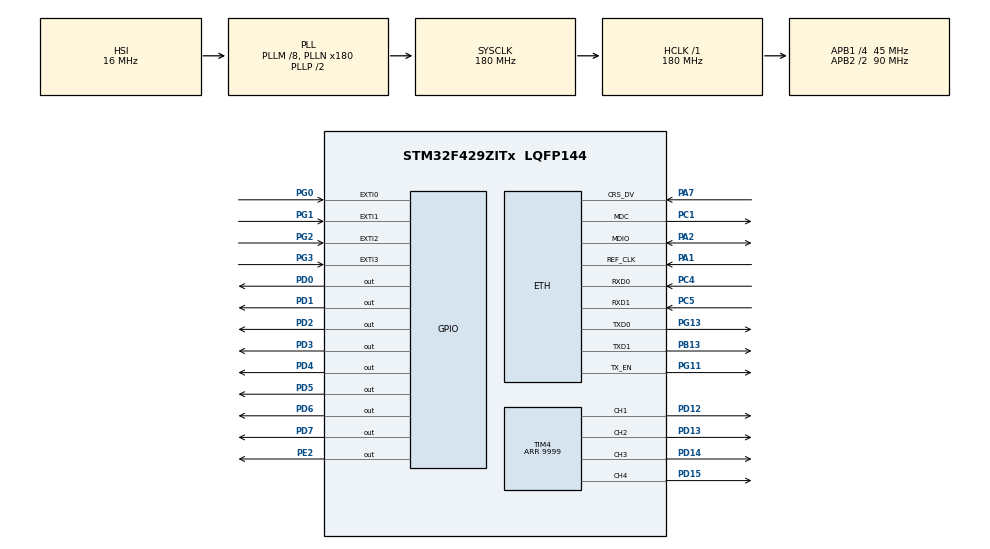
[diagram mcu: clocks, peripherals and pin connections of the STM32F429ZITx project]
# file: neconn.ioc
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ETH.MediaInterface=HAL_ETH_RMII_MODE
FREERTOS.Tasks01=defaultTask,24,256,StartDefaultTask,Default,NULL,Dynamic,NULL,NULL
FREERTOS.configCHECK_FOR_STACK_OVERFLOW=2
FREERTOS.configMINIMAL_STACK_SIZE=256
FREERTOS.configUSE_NEWLIB_REENTRANT=1
LWIP.BSP.number=1
LWIP.GATEWAY_ADDRESS=192.168.000.001
LWIP.IP_ADDRESS=192.168.000.012
LWIP.LWIP_DHCP=0
LWIP.MEM_SIZE=10*1024
LWIP.NETMASK_ADDRESS=255.255.255.000
LWIP.Version=v2.1.2_Cube
LWIP0.BSP.STBoard=false
LWIP0.BSP.api=BSP_COMPONENT_DRIVER
LWIP0.BSP.component=LAN8742
LWIP0.BSP.instance=LAN8742
LWIP0.BSP.name=Driver_PHY
LWIP0.BSP.semaphore=S_LAN8742
LWIP0.BSP.solution=LAN8742
Mcu.Family=STM32F4
Mcu.Name=STM32F429ZITx
Mcu.Package=LQFP144
NVIC.ETH_IRQn=true\:5\:0\:false\:false\:true\:true\:false\:true\:true
NVIC.EXTI0_IRQn=true\:5\:0\:false\:false\:true\:true\:true\:true\:true
NVIC.EXTI1_IRQn=true\:5\:0\:false\:false\:true\:true\:true\:true\:true
NVIC.EXTI2_IRQn=true\:5\:0\:false\:false\:true\:true\:true\:true\:true
NVIC.EXTI3_IRQn=true\:5\:0\:false\:false\:true\:true\:true\:true\:true
NVIC.PriorityGroup=NVIC_PRIORITYGROUP_4
NVIC.TIM4_IRQn=true\:5\:0\:false\:false\:true\:true\:true\:true\:true
NVIC.TIM6_DAC_IRQn=true\:15\:0\:false\:false\:true\:false\:false\:true\:true
NVIC.TimeBase=TIM6_DAC_IRQn
NVIC.TimeBaseIP=TIM6
PA1.Mode=RMII
PA1.Signal=ETH_REF_CLK
PA13.Mode=Trace_Asynchronous_SW
PA13.Signal=SYS_JTMS-SWDIO
PA14.Mode=Trace_Asynchronous_SW
PA14.Signal=SYS_JTCK-SWCLK
PA2.Mode=RMII
PA2.Signal=ETH_MDIO
PA7.Mode=RMII
PA7.Signal=ETH_CRS_DV
PB13.Mode=RMII
PB13.Signal=ETH_TXD1
PB3.Mode=Trace_Asynchronous_SW
PB3.Signal=SYS_JTDO-SWO
PC1.Mode=RMII
PC1.Signal=ETH_MDC
PC14/OSC32_IN.Mode=LSE-External-Oscillator
PC14/OSC32_IN.Signal=RCC_OSC32_IN
PC15/OSC32_OUT.Mode=LSE-External-Oscillator
PC15/OSC32_OUT.Signal=RCC_OSC32_OUT
PC4.Mode=RMII
PC4.Signal=ETH_RXD0
PC5.Mode=RMII
PC5.Signal=ETH_RXD1
PD0.GPIO_PuPd=GPIO_PULLUP
PD0.GPIO_Speed=GPIO_SPEED_FREQ_HIGH
PD0.Signal=GPIO_Output
PD1.GPIO_PuPd=GPIO_PULLUP
PD1.GPIO_Speed=GPIO_SPEED_FREQ_HIGH
PD1.Signal=GPIO_Output
PD12.Signal=S_TIM4_CH1
PD13.Signal=S_TIM4_CH2
PD14.Signal=S_TIM4_CH3
PD15.Signal=S_TIM4_CH4
PD2.GPIO_PuPd=GPIO_PULLUP
PD2.GPIO_Speed=GPIO_SPEED_FREQ_HIGH
PD2.Signal=GPIO_Output
PD3.GPIO_PuPd=GPIO_PULLUP
PD3.GPIO_Speed=GPIO_SPEED_FREQ_HIGH
PD3.Signal=GPIO_Output
PD4.GPIO_PuPd=GPIO_PULLUP
PD4.GPIO_Speed=GPIO_SPEED_FREQ_HIGH
PD4.Signal=GPIO_Output
PD5.GPIO_PuPd=GPIO_PULLUP
PD5.GPIO_Speed=GPIO_SPEED_FREQ_HIGH
PD5.Signal=GPIO_Output
PD6.GPIO_PuPd=GPIO_PULLUP
PD6.GPIO_Speed=GPIO_SPEED_FREQ_HIGH
PD6.Signal=GPIO_Output
PD7.GPIO_PuPd=GPIO_PULLUP
PD7.GPIO_Speed=GPIO_SPEED_FREQ_HIGH
PD7.Signal=GPIO_Output
PE2.GPIO_PuPd=GPIO_PULLUP
PE2.GPIO_Speed=GPIO_SPEED_FREQ_MEDIUM
PE2.Signal=GPIO_Output
PG0.GPIO_ModeDefaultEXTI=GPIO_MODE_IT_FALLING
PG0.GPIO_PuPd=GPIO_NOPULL
PG0.Signal=GPXTI0
PG1.GPIO_ModeDefaultEXTI=GPIO_MODE_IT_FALLING
PG1.GPIO_PuPd=GPIO_NOPULL
PG1.Signal=GPXTI1
PG11.Mode=RMII
PG11.Signal=ETH_TX_EN
PG13.Mode=RMII
PG13.Signal=ETH_TXD0
PG2.GPIO_ModeDefaultEXTI=GPIO_MODE_IT_FALLING
PG2.GPIO_PuPd=GPIO_NOPULL
PG2.Signal=GPXTI2
PG3.GPIO_ModeDefaultEXTI=GPIO_MODE_IT_FALLING
PG3.GPIO_PuPd=GPIO_NOPULL
PG3.Signal=GPXTI3
PH0/OSC_IN.Mode=HSE-External-Clock-Source
PH0/OSC_IN.Signal=RCC_OSC_IN
PH1/OSC_OUT.Mode=HSE-External-Clock-Source
PH1/OSC_OUT.Signal=RCC_OSC_OUT
ProjectManager.HeapSize=0x200
ProjectManager.StackSize=0x400
ProjectManager.TargetToolchain=STM32CubeIDE
RCC.48MHZClocksFreq_Value=90000000
RCC.AHBFreq_Value=180000000
RCC.APB1CLKDivider=RCC_HCLK_DIV4
RCC.APB1Freq_Value=45000000
RCC.APB1TimFreq_Value=90000000
RCC.APB2CLKDivider=RCC_HCLK_DIV2
RCC.APB2Freq_Value=90000000
RCC.APB2TimFreq_Value=180000000
RCC.CortexFreq_Value=180000000
RCC.HCLKFreq_Value=180000000
RCC.HSE_VALUE=25000000
RCC.HSI_VALUE=16000000
RCC.PLLM=8
RCC.PLLN=180
RCC.SYSCLKFreq_VALUE=180000000
RCC.SYSCLKSource=RCC_SYSCLKSOURCE_PLLCLK
RCC.VCOOutputFreq_Value=360000000
SH.S_TIM4_CH1.0=TIM4_CH1,PWM Generation1 CH1
SH.S_TIM4_CH2.0=TIM4_CH2,PWM Generation2 CH2
SH.S_TIM4_CH3.0=TIM4_CH3,PWM Generation3 CH3
SH.S_TIM4_CH4.0=TIM4_CH4,PWM Generation4 CH4
TIM4.Channel-PWM\ Generation1\ CH1=TIM_CHANNEL_1
TIM4.Channel-PWM\ Generation2\ CH2=TIM_CHANNEL_2
TIM4.Channel-PWM\ Generation3\ CH3=TIM_CHANNEL_3
TIM4.Channel-PWM\ Generation4\ CH4=TIM_CHANNEL_4
TIM4.Period=9999
TIM4.Pulse-PWM\ Generation1\ CH1=29999
TIM4.Pulse-PWM\ Generation2\ CH2=29999
TIM4.Pulse-PWM\ Generation3\ CH3=29999
TIM4.Pulse-PWM\ Generation4\ CH4=10000
VP_FREERTOS_VS_CMSIS_V2.Mode=CMSIS_V2
VP_LWIP_VS_Enabled.Mode=Enabled
VP_SYS_VS_tim6.Mode=TIM6
VP_TIM4_VS_ClockSourceINT.Mode=Internal
board=custom

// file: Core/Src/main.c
/* USER CODE BEGIN Header */
/**
  ******************************************************************************
  * @file           : main.c
  * @brief          : Main program body
  ******************************************************************************
  * @attention
  *
  * Copyright (c) 2023 STMicroelectronics.
  * All rights reserved.
  *
  * This software is licensed under terms that can be found in the LICENSE file
  * in the root directory of this software component.
  * If no LICENSE file comes with this software, it is provided AS-IS.
  *
  ******************************************************************************
  */
/* USER CODE END Header */
#include "main.h"
#include "cmsis_os.h"
#include "lwip.h"

/* USER CODE BEGIN Includes */
#include "tcpserver.h"
#include "tcpclient.h"
/* USER CODE END Includes */

TIM_HandleTypeDef htim4;

/* Definitions for defaultTask */

/* USER CODE BEGIN PV */
osThreadId_t tcpTaskHandle;
const osThreadAttr_t tcpTask_attributes = {
  .name = "tcpTask",
  .stack_size = 256 * 4,
  .priority = (osPriority_t) osPriorityNormal,
};

osThreadId_t motorTaskHandle;
const osThreadAttr_t motorTask_attributes = {
  .name = "motorTask",
  .stack_size = 256 * 4,
  .priority = (osPriority_t) osPriorityNormal,
};
/* USER CODE END PV */

void SystemClock_Config(void);
static void MX_GPIO_Init(void);
static void MX_TIM4_Init(void);

/* USER CODE BEGIN PFP */
void StartMotorTask(void *argument);
void StartTcpTask(void *argument);
/* USER CODE END PFP */

/* USER CODE BEGIN 0 */
void LED_OnOff(int, int);

extern int motor_left;
extern int motor_right;
/* USER CODE END 0 */

int main(void)
{

  /* MCU Configuration--------------------------------------------------------*/

  /* Reset of all peripherals, Initializes the Flash interface and the Systick. */
  HAL_Init();

  /* USER CODE BEGIN Init */
  LED_OnOff(LED_ALL, 500);
  HAL_TIM_Base_Start(&htim4);

  /* USER CODE END Init */

  /* Configure the system clock */
  SystemClock_Config();

  /* Initialize all configured peripherals */
  MX_GPIO_Init();
  MX_TIM4_Init();
  /* USER CODE BEGIN 2 */
  //HAL_TIM_Base_Start(&htim4);
  //HAL_TIM_PWM_Start(&htim4, TIM_CHANNEL_1);
  //HAL_TIM_PWM_Start(&htim4, TIM_CHANNEL_2);
  //MOTOR_RIGHT
  HAL_TIM_PWM_Start(&htim4, TIM_CHANNEL_1); // PD12
  HAL_TIM_PWM_Start(&htim4, TIM_CHANNEL_2); // PD13

  //MOTOR_LEFT
  HAL_TIM_PWM_Start(&htim4, TIM_CHANNEL_3); //PD14
  HAL_TIM_PWM_Start(&htim4, TIM_CHANNEL_4); //PD15
  /* USER CODE END 2 */

  /* Init scheduler */
  osKernelInitialize();

  /* Create the thread(s) */
  /* creation of defaultTask */

  /* USER CODE BEGIN RTOS_THREADS */
  tcpTaskHandle = osThreadNew(StartTcpTask, NULL, &tcpTask_attributes);
  motorTaskHandle = osThreadNew(StartMotorTask, NULL, &motorTask_attributes);
  /* add threads, ... */
  /* USER CODE END RTOS_THREADS */

  /* Start scheduler */
  osKernelStart();

  /* We should never get here as control is now taken by the scheduler */
  /* Infinite loop */
  while (1)
  {

  }
}

void SystemClock_Config(void)
{
  RCC_OscInitTypeDef RCC_OscInitStruct = {0};
  RCC_ClkInitTypeDef RCC_ClkInitStruct = {0};

  /** Configure the main internal regulator output voltage
  */
  __HAL_RCC_PWR_CLK_ENABLE();
  __HAL_PWR_VOLTAGESCALING_CONFIG(PWR_REGULATOR_VOLTAGE_SCALE1);

  /** Initializes the RCC Oscillators according to the specified parameters
  * in the RCC_OscInitTypeDef structure.
  */
  RCC_OscInitStruct.OscillatorType = RCC_OSCILLATORTYPE_HSI;
  RCC_OscInitStruct.HSIState = RCC_HSI_ON;
  RCC_OscInitStruct.HSICalibrationValue = RCC_HSICALIBRATION_DEFAULT;
  RCC_OscInitStruct.PLL.PLLState = RCC_PLL_ON;
  RCC_OscInitStruct.PLL.PLLSource = RCC_PLLSOURCE_HSI;
  RCC_OscInitStruct.PLL.PLLM = 8;
  RCC_OscInitStruct.PLL.PLLN = 180;
  RCC_OscInitStruct.PLL.PLLP = RCC_PLLP_DIV2;
  RCC_OscInitStruct.PLL.PLLQ = 4;
  if (HAL_RCC_OscConfig(&RCC_OscInitStruct) != HAL_OK)
  {
    Error_Handler();
  }

  /** Activate the Over-Drive mode
  */
  if (HAL_PWREx_EnableOverDrive() != HAL_OK)
  {
    Error_Handler();
  }

  /** Initializes the CPU, AHB and APB buses clocks
  */
  RCC_ClkInitStruct.ClockType = RCC_CLOCKTYPE_HCLK|RCC_CLOCKTYPE_SYSCLK
                              |RCC_CLOCKTYPE_PCLK1|RCC_CLOCKTYPE_PCLK2;
  RCC_ClkInitStruct.SYSCLKSource = RCC_SYSCLKSOURCE_PLLCLK;
  RCC_ClkInitStruct.AHBCLKDivider = RCC_SYSCLK_DIV1;
  RCC_ClkInitStruct.APB1CLKDivider = RCC_HCLK_DIV4;
  RCC_ClkInitStruct.APB2CLKDivider = RCC_HCLK_DIV2;

  if (HAL_RCC_ClockConfig(&RCC_ClkInitStruct, FLASH_LATENCY_5) != HAL_OK)
  {
    Error_Handler();
  }
}

static void MX_TIM4_Init(void)
{

  /* USER CODE BEGIN TIM4_Init 0 */
  TIM4->CCR2 = 10000;
  TIM4->CCR4 = 10000;
  /* USER CODE END TIM4_Init 0 */

  TIM_ClockConfigTypeDef sClockSourceConfig = {0};
  TIM_MasterConfigTypeDef sMasterConfig = {0};
  TIM_OC_InitTypeDef sConfigOC = {0};

  htim4.Instance = TIM4;
  htim4.Init.Prescaler = 0;
  htim4.Init.CounterMode = TIM_COUNTERMODE_UP;
  htim4.Init.Period = 9999;
  htim4.Init.ClockDivision = TIM_CLOCKDIVISION_DIV1;
  htim4.Init.AutoReloadPreload = TIM_AUTORELOAD_PRELOAD_DISABLE;
  if (HAL_TIM_Base_Init(&htim4) != HAL_OK)
  {
    Error_Handler();
  }
  sClockSourceConfig.ClockSource = TIM_CLOCKSOURCE_INTERNAL;
  if (HAL_TIM_ConfigClockSource(&htim4, &sClockSourceConfig) != HAL_OK)
  {
    Error_Handler();
  }
  if (HAL_TIM_PWM_Init(&htim4) != HAL_OK)
  {
    Error_Handler();
  }
  sMasterConfig.MasterOutputTrigger = TIM_TRGO_RESET;
  sMasterConfig.MasterSlaveMode = TIM_MASTERSLAVEMODE_DISABLE;
  if (HAL_TIMEx_MasterConfigSynchronization(&htim4, &sMasterConfig) != HAL_OK)
  {
    Error_Handler();
  }
  sConfigOC.OCMode = TIM_OCMODE_PWM1;
  sConfigOC.Pulse = 29999;
  sConfigOC.OCPolarity = TIM_OCPOLARITY_HIGH;
  sConfigOC.OCFastMode = TIM_OCFAST_DISABLE;
  if (HAL_TIM_PWM_ConfigChannel(&htim4, &sConfigOC, TIM_CHANNEL_1) != HAL_OK)
  {
    Error_Handler();
  }
  if (HAL_TIM_PWM_ConfigChannel(&htim4, &sConfigOC, TIM_CHANNEL_2) != HAL_OK)
  {
    Error_Handler();
  }
  if (HAL_TIM_PWM_ConfigChannel(&htim4, &sConfigOC, TIM_CHANNEL_3) != HAL_OK)
  {
    Error_Handler();
  }
  sConfigOC.Pulse = 10000;
  if (HAL_TIM_PWM_ConfigChannel(&htim4, &sConfigOC, TIM_CHANNEL_4) != HAL_OK)
  {
    Error_Handler();
  }
  HAL_TIM_MspPostInit(&htim4);

}

static void MX_GPIO_Init(void)
{
  GPIO_InitTypeDef GPIO_InitStruct = {0};

  /* GPIO Ports Clock Enable */
  __HAL_RCC_GPIOE_CLK_ENABLE();
  __HAL_RCC_GPIOC_CLK_ENABLE();
  __HAL_RCC_GPIOH_CLK_ENABLE();
  __HAL_RCC_GPIOA_CLK_ENABLE();
  __HAL_RCC_GPIOG_CLK_ENABLE();
  __HAL_RCC_GPIOB_CLK_ENABLE();
  __HAL_RCC_GPIOD_CLK_ENABLE();

  /*Configure GPIO pin Output Level */
  HAL_GPIO_WritePin(GPIOE, GPIO_PIN_2, GPIO_PIN_RESET);

  /*Configure GPIO pin Output Level */
  HAL_GPIO_WritePin(GPIOD, GPIO_PIN_0|GPIO_PIN_1|GPIO_PIN_2|GPIO_PIN_3
                          |GPIO_PIN_4|GPIO_PIN_5|GPIO_PIN_6|GPIO_PIN_7, GPIO_PIN_RESET);

  /*Configure GPIO pin : PE2 */
  GPIO_InitStruct.Pin = GPIO_PIN_2;
  GPIO_InitStruct.Mode = GPIO_MODE_OUTPUT_PP;
  GPIO_InitStruct.Pull = GPIO_PULLUP;
  GPIO_InitStruct.Speed = GPIO_SPEED_FREQ_MEDIUM;
  HAL_GPIO_Init(GPIOE, &GPIO_InitStruct);

  /*Configure GPIO pins : PG0 PG1 PG2 PG3 */
  GPIO_InitStruct.Pin = GPIO_PIN_0|GPIO_PIN_1|GPIO_PIN_2|GPIO_PIN_3;
  GPIO_InitStruct.Mode = GPIO_MODE_IT_FALLING;
  GPIO_InitStruct.Pull = GPIO_NOPULL;
  HAL_GPIO_Init(GPIOG, &GPIO_InitStruct);

  /*Configure GPIO pins : PD0 PD1 PD2 PD3
                           PD4 PD5 PD6 PD7 */
  GPIO_InitStruct.Pin = GPIO_PIN_0|GPIO_PIN_1|GPIO_PIN_2|GPIO_PIN_3
                          |GPIO_PIN_4|GPIO_PIN_5|GPIO_PIN_6|GPIO_PIN_7;
  GPIO_InitStruct.Mode = GPIO_MODE_OUTPUT_PP;
  GPIO_InitStruct.Pull = GPIO_PULLUP;
  GPIO_InitStruct.Speed = GPIO_SPEED_FREQ_HIGH;
  HAL_GPIO_Init(GPIOD, &GPIO_InitStruct);

  /* EXTI interrupt init*/
  HAL_NVIC_SetPriority(EXTI0_IRQn, 5, 0);
  HAL_NVIC_EnableIRQ(EXTI0_IRQn);

  HAL_NVIC_SetPriority(EXTI1_IRQn, 5, 0);
  HAL_NVIC_EnableIRQ(EXTI1_IRQn);

  HAL_NVIC_SetPriority(EXTI2_IRQn, 5, 0);
  HAL_NVIC_EnableIRQ(EXTI2_IRQn);

  HAL_NVIC_SetPriority(EXTI3_IRQn, 5, 0);
  HAL_NVIC_EnableIRQ(EXTI3_IRQn);

}

/* USER CODE BEGIN 4 */
void LED_OnOff(int led, int interval)
{
HAL_GPIO_WritePin(GPIO_LED, led, GPIO_PIN_SET );
HAL_GPIO_WritePin(GPIO_LED_Nucleo, led, GPIO_PIN_SET );
HAL_Delay(interval);
HAL_GPIO_WritePin(GPIO_LED, led, GPIO_PIN_RESET );
HAL_GPIO_WritePin(GPIO_LED_Nucleo, led, GPIO_PIN_RESET );
}

//MOTOR_RIGHT
//TIM_CHANNEL_1 PD12
//TIM_CHANNEL_2 PD13

//MOTOR_LEFT
//TIM_CHANNEL_3 PD14
//TIM_CHANNEL_4 PD15
void StartMotorTask(void *argument)
{
  /* USER CODE BEGIN 5 */
  /* Infinite loop */
  for(;;)
  {
	  if(motor_left == 2){
		  TIM4->CCR1 = 999;
		  HAL_GPIO_WritePin(GPIO_LED, GPIO_PIN_1, GPIO_PIN_RESET );
	  }
	  else if(motor_left == 1){
		  TIM4->CCR1 = 3999;
	  }
	  else if(motor_left == 0){
		  TIM4->CCR1 = 9999;
		  HAL_GPIO_WritePin(GPIO_LED, GPIO_PIN_1, GPIO_PIN_SET );
	  }

	  if(motor_right == 2){
		  TIM4->CCR3 = 999;
	  }
	  else if(motor_right == 1){
		  TIM4->CCR3 = 3999;
	  }
	  else if(motor_right == 0){
		  TIM4->CCR3 = 9999;
	  }
	  osDelay(10);
  }
  /* USER CODE END 5 */
}

void StartTcpTask(void *argument)
{
  /* init code for LWIP */
  MX_LWIP_Init();
  tcpclient_init();
  /* USER CODE BEGIN 5 */
  /* Infinite loop */
  for(;;)
  {
	  osDelay(1);
  }
  /* USER CODE END 5 */
}
/* USER CODE END 4 */

void HAL_TIM_PeriodElapsedCallback(TIM_HandleTypeDef *htim)
{
  if (htim->Instance == TIM6) {
    HAL_IncTick();
  }
}

void Error_Handler(void)
{
  __disable_irq();
  while (1)
  {
  }
}

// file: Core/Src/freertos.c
/* USER CODE BEGIN Header */
/**
  ******************************************************************************
  * File Name          : freertos.c
  * Description        : Code for freertos applications
  ******************************************************************************
  * @attention
  *
  * Copyright (c) 2023 STMicroelectronics.
  * All rights reserved.
  *
  * This software is licensed under terms that can be found in the LICENSE file
  * in the root directory of this software component.
  * If no LICENSE file comes with this software, it is provided AS-IS.
  *
  ******************************************************************************
  */
/* USER CODE END Header */

#include "FreeRTOS.h"
#include "task.h"
#include "main.h"

/* Hook prototypes */
void vApplicationStackOverflowHook(xTaskHandle xTask, signed char *pcTaskName);

/* USER CODE BEGIN 4 */
__weak void vApplicationStackOverflowHook(xTaskHandle xTask, signed char *pcTaskName)
{
   /* Run time stack overflow checking is performed if
   configCHECK_FOR_STACK_OVERFLOW is defined to 1 or 2. This hook function is
   called if a stack overflow is detected. */
}
/* USER CODE END 4 */
